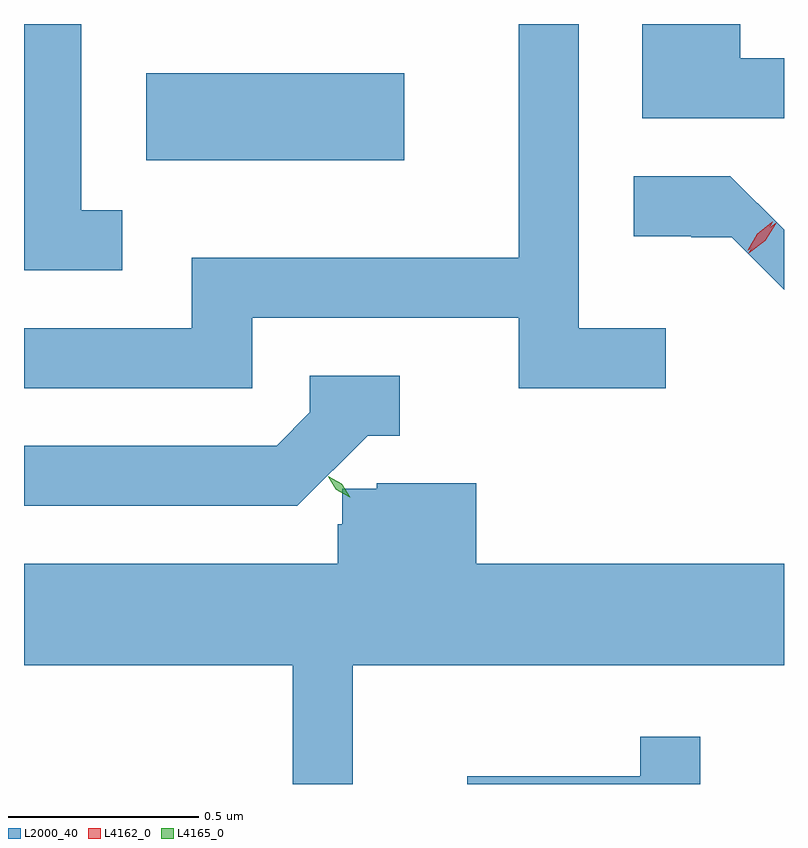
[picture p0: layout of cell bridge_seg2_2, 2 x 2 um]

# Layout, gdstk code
import gdstk
lib = gdstk.Library(unit=1e-6, precision=1e-09)
def R(c, l, rs):  # rectangles x0, y0, x1, y1
    for r in rs: c.add(gdstk.rectangle(r[:2], r[2:], *l))
def P(c, l, *ps):  # polygons
    for p in ps: c.add(gdstk.Polygon(p, *l))
L2000_40 = (2000, 40)
L4162_0 = (4162, 0)
L4165_0 = (4165, 0)

bridge_seg2_2 = lib.new_cell('bridge_seg2_2')
R(bridge_seg2_2, L2000_40, [(1728.741,1094.046,1729.419,1094.274)])
P(bridge_seg2_2, L2000_40, [(1730.419,1094.314),(1730.304,1094.314),(1730.304,1094.404),(1730.046,1094.404),(1730.046,1094.156),(1730.419,1094.156)],
  [(1729.019,1093.631),(1729.721,1093.631),(1729.721,1093.446),(1730.108,1093.446),(1730.108,1093.604),(1729.879,1093.604),(1729.879,1094.404),(1729.721,1094.404),(1729.721,1093.789),(1728.861,1093.789),(1728.861,1093.604),(1728.419,1093.604),(1728.419,1093.446),(1729.019,1093.446)],
  [(1728.678,1093.914),(1728.569,1093.914),(1728.569,1094.404),(1728.419,1094.404),(1728.419,1093.756),(1728.678,1093.756)],
  [(1730.419,1093.862),(1730.277,1094.004),(1730.023,1094.004),(1730.023,1093.846),(1730.175,1093.846),(1730.175,1093.843),(1730.281,1093.843),(1730.419,1093.705)],
  [(1729.323,1093.321),(1729.408,1093.321),(1729.408,1093.479),(1729.171,1093.479),(1729.171,1093.382),(1729.084,1093.294),(1728.419,1093.294),(1728.419,1093.136),(1729.138,1093.136)],
  [(1729.284,1092.716),(1730.419,1092.716),(1730.419,1092.984),(1729.609,1092.984),(1729.609,1093.196),(1729.347,1093.196),(1729.347,1093.181),(1729.257,1093.181),(1729.257,1093.087),(1729.244,1093.087),(1729.244,1092.984),(1728.419,1092.984),(1728.419,1092.716),(1729.126,1092.716),(1729.126,1092.404),(1729.284,1092.404)],
  [(1730.199,1092.528),(1730.041,1092.528),(1730.041,1092.424),(1729.586,1092.424),(1729.586,1092.404),(1730.199,1092.404)])
P(bridge_seg2_2, L4162_0, [(1730.326,1093.801),(1730.326,1093.802),(1730.355,1093.848),(1730.398,1093.881),(1730.398,1093.881),(1730.398,1093.88),(1730.369,1093.834),(1730.326,1093.801)],
  [(1730.324,1093.808),(1730.324,1093.809),(1730.349,1093.852),(1730.388,1093.883),(1730.389,1093.883),(1730.389,1093.883),(1730.364,1093.839),(1730.325,1093.808)])
P(bridge_seg2_2, L4165_0, [(1729.276,1093.159),(1729.241,1093.179),(1729.219,1093.213),(1729.219,1093.214),(1729.22,1093.214),(1729.255,1093.194),(1729.277,1093.159),(1729.277,1093.159)],
  [(1729.272,1093.162),(1729.24,1093.18),(1729.22,1093.212),(1729.22,1093.212),(1729.221,1093.212),(1729.254,1093.194),(1729.273,1093.163),(1729.273,1093.162)])

lib.write_gds('bridge_seg2_2.gds')
